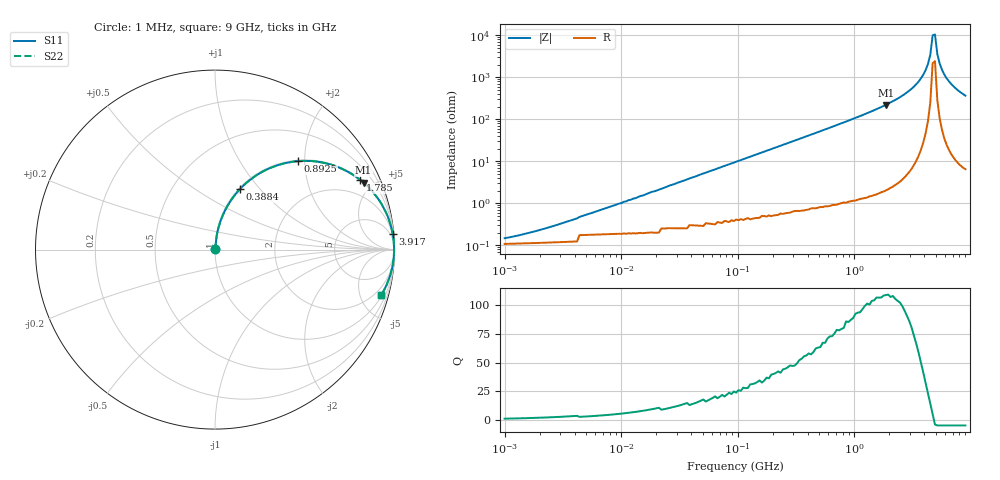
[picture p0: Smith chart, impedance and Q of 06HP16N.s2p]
# MHz S MA R 50
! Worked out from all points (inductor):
!   198 points, 1 MHz to 9 GHz, reference 50 ohm
!   read as one part in series: L = 16 nH near 3.648 MHz
!   highest Q = 109 at 1.87 GHz (marker M1), where L = 18.8 nH
!   self-resonance near 4.712 GHz
!   S11 on the Smith chart (normalised r, x): 1 MHz: 1.00, +0.00; 388.4 MHz: 1.01, +0.79; 892.5 MHz: 1.02, +1.86; 1.785 GHz: 1.04, +4.16; 3.917 GHz: 2, +23; 9 GHz: 1.13, -7.30
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1  0.001533 40.9  0.999 -0.1  0.999 -0.1  0.001533 40.9
4.596  0.004855 71.6  0.998 -0.3  0.998 -0.3  0.004855 71.6
21.124  0.021 82.7  0.998 -1.2  0.998 -1.2  0.021 82.7
97.086  0.097 82.2  0.991 -5.6  0.991 -5.6  0.097 82.2
223.079  0.218 76.0  0.971 -12.6  0.971 -12.6  0.218 76.0
388.442  0.364 67.7  0.925 -21.3  0.925 -21.3  0.364 67.7
446.214  0.41 64.9  0.905 -24.2  0.905 -24.2  0.41 64.9
892.54  0.677 46.7  0.728 -42.6  0.728 -42.6  0.677 46.7
1785.304  0.898 25.6  0.432 -63.9  0.432 -63.9  0.898 25.6
1869.754  0.908 24.2  0.411 -65.2  0.411 -65.2  0.908 24.2
2050.827  0.926 21.6  0.368 -67.9  0.368 -67.9  0.926 21.6
3108.706  0.981 10.6  0.184 -78.7  0.184 -78.7  0.981 10.6
3916.888  0.994 4.9  0.086 -83.7  0.086 -83.7  0.994 4.9
4296.213  0.997 2.7  0.048 -84.8  0.048 -84.8  0.997 2.7
4499.436  0.997 1.6  0.029 -84.1  0.029 -84.1  0.997 1.6
4712.272  0.998 0.6  0.009974 -76.9  0.009974 -76.9  0.998 0.6
4935.176  0.998 -0.5  0.009537 76.0  0.009537 76.0  0.998 -0.5
5168.624  0.997 -1.6  0.028 83.8  0.028 83.8  0.997 -1.6
5413.115  0.997 -2.7  0.047 84.4  0.047 84.4  0.997 -2.7
5937.339  0.994 -4.9  0.086 83.4  0.086 83.4  0.994 -4.9
6820.382  0.987 -8.3  0.144 80.5  0.144 80.5  0.987 -8.3
9000  0.96 -15.2  0.263 73.7  0.263 73.7  0.96 -15.2
